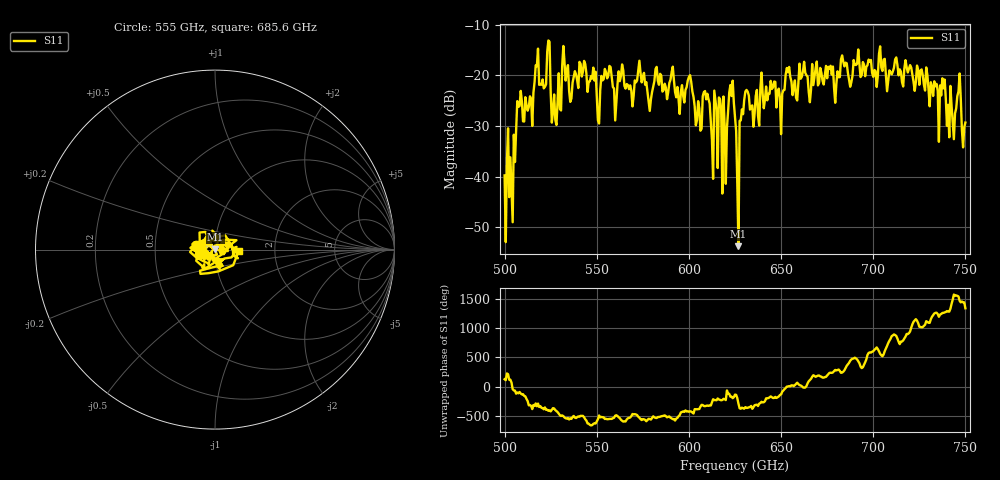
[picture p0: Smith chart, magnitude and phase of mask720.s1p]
!Created with skrf (http://scikit-rf.org).
# GHz S MA R 50.0
!freq magS11 angS11
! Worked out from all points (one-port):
!   401 points, 500 GHz to 750 GHz, reference 50 ohm
!   lowest |S11| = -53.8 dB at 626.9 GHz (marker M1), VSWR 1.00, Z = 50.1 + j0.188 ohm
!   |S11| at or under -10 dB: start of sweep to end of sweep
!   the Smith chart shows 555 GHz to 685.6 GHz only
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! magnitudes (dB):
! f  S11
! 500 GHz  -39.8
! 505 GHz  -31.7
! 508.1 GHz  -26.0
! 513.8 GHz  -24.1
! 516.9 GHz  -18.0
! 523.8 GHz  -13.1
! 526.9 GHz  -23.8
! 531.2 GHz  -18.0
! 542.5 GHz  -19.3
! 551.2 GHz  -29.5
! 562.5 GHz  -21.1
! 593.8 GHz  -22.3
! 600.6 GHz  -20.0
! 605.6 GHz  -26.5
! 609.4 GHz  -24.7
! 611.9 GHz  -29.2
! 619.4 GHz  -29.9
! 623.1 GHz  -24.1
! 625 GHz  -28.1
! 626.9 GHz  -53.8
! 631.2 GHz  -22.9
! 656.2 GHz  -23.9
! 687.5 GHz  -22.2
! 718.8 GHz  -19.4
! 737.5 GHz  -20.6
! 742.5 GHz  -26.0
! 746.2 GHz  -23.2
! 750 GHz  -29.3
